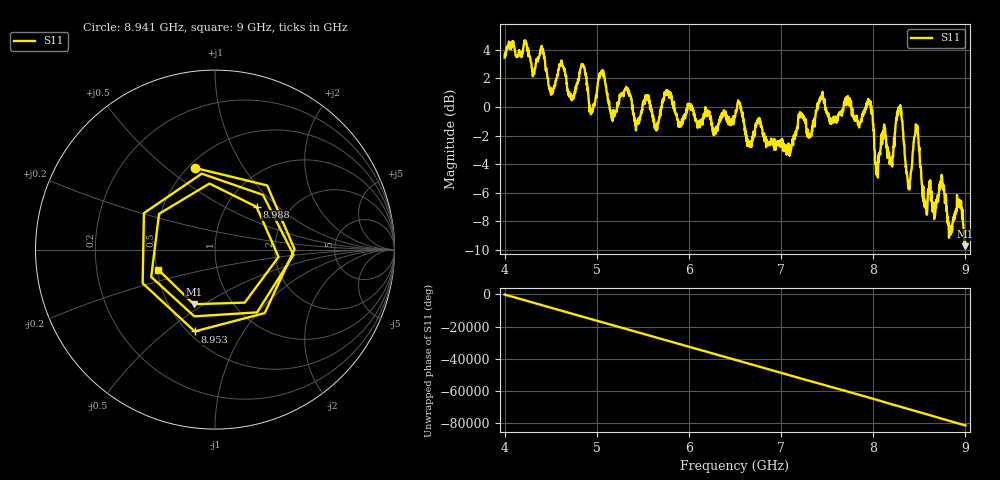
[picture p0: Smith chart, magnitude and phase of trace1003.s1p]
! Created with skrf 1.8.0 (http://scikit-rf.org).
# Hz S RI R 50.0
!freq ReS11 ImS11
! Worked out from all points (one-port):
!   1601 points, 4 GHz to 9 GHz, reference 50 ohm
!   lowest |S11| = -9.7 dB at 8.997 GHz (marker M1), VSWR 1.97, Z = 33.3 - j22.7 ohm
!   |S11| at or under -10 dB: nowhere
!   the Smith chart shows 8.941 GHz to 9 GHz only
!   S11 on the Smith chart (normalised r, x): 8.941 GHz: 0.54, +0.63; 8.953 GHz: 0.54, -0.63; 8.988 GHz: 1.38, +0.74; 9 GHz: 0.51, -0.13
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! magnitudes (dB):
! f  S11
! 4 GHz  3.4
! 4.406 GHz  4.1
! 4.509 GHz  1.0
! 4.625 GHz  3.0
! 4.731 GHz  0.6
! 4.856 GHz  2.8
! 4.941 GHz  -0.4
! 5.05 GHz  2.5
! 5.162 GHz  -0.8
! 5.25 GHz  0.9
! 5.875 GHz  -0.9
! 6.5 GHz  -0.7
! 7.125 GHz  -2.3
! 7.434 GHz  0.7
! 7.75 GHz  0.3
! 7.966 GHz  0.2
! 8.044 GHz  -4.2
! 8.112 GHz  -1.8
! 8.197 GHz  -3.9
! 8.291 GHz  0.0
! 8.375 GHz  -5.2
! 8.466 GHz  -1.3
! 8.562 GHz  -6.5
! 8.941 GHz  -6.6
! 8.953 GHz  -6.6
! 8.988 GHz  -9.6
! 8.997 GHz  -9.7
! 9 GHz  -9.5
